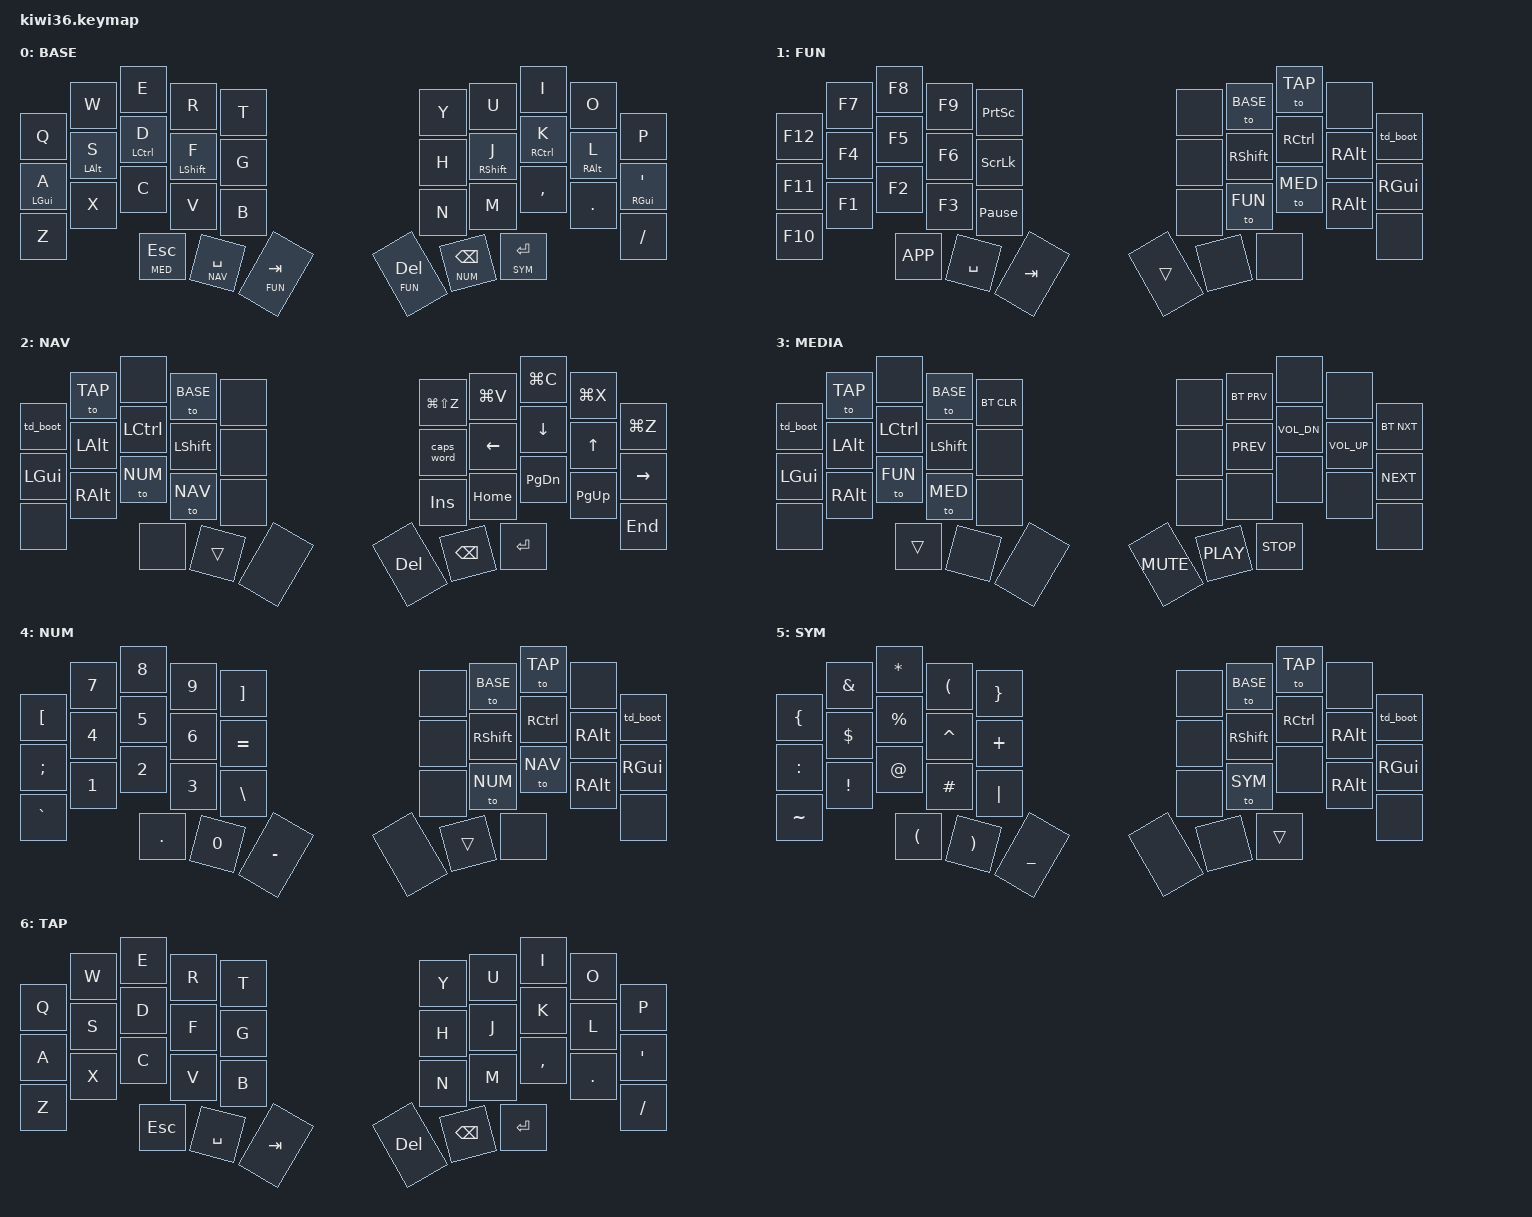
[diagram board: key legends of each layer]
/*
 * Copyright (c) 2023 The ZMK Contributors
 * SPDX-License-Identifier: MIT
 */

#include <behaviors.dtsi>
#include <dt-bindings/zmk/keys.h>
#include <dt-bindings/zmk/bt.h>
#include <dt-bindings/zmk/outputs.h>
#include <dt-bindings/zmk/rgb.h>

nice_view_spi: &spi0 {
  cs-gpios = <&gpio0 31 GPIO_ACTIVE_HIGH>;
};

#define BASE 0
#define FUN 1
#define NAV 2
#define MED 3
#define NUM 4
#define SYM 5
#define TAP 6

/* --- MACROS FOR MAC SHORTCUTS --- */
#define U_RDO LG(LS(Z))
#define U_PST LG(V)
#define U_CPY LG(C)
#define U_CUT LG(X)
#define U_UND LG(Z)

/ {
    behaviors {
        /* Home Row Mods: Tap for key, Hold for Mod */
        hm: homerow_mods {
            compatible = "zmk,behavior-hold-tap";
            #binding-cells = <2>;
            tapping-term-ms = <180>;
            quick-tap-ms = <175>;
            flavor = "balanced";
            bindings = <&kp>, <&kp>;
        };

        /* Thumb Layer Taps */
        lt_q: layer_tap_quick {
            compatible = "zmk,behavior-hold-tap";
            #binding-cells = <2>;
            tapping-term-ms = <200>;
            quick-tap-ms = <175>;
            flavor = "tap-preferred";
            bindings = <&mo>, <&kp>;
        };

        /* Tap Dance: Double tap to Reset */
        td_boot: tap_dance_boot {
            compatible = "zmk,behavior-tap-dance";
            #binding-cells = <0>;
            tapping-term-ms = <200>;
            bindings = <&none>, <&sys_reset>;
        };
    };

    combos {
        compatible = "zmk,combos";
        combo_dongle_bootloader {
            timeout-ms = <50>;
            key-positions = <0 9 30>;
            bindings = <&bootloader>;
        };
    };

    keymap {
        compatible = "zmk,keymap";

// LAYER 0: BASE
// -----------------------------------------------------------------------------------
// |   Q   |   W   |    E  |   R   |   T   |   |   Y   |   U   |   I   |   O   |   P   |
// | A/GUI | S/ALT | D/CTL | F/SFT |   G   |   |   H   | J/SFT | K/CTL | L/ALT | '/GUI |
// |   Z   |    X  |    C  |   V   |   B   |   |   N   |   M   |   ,   |   .   |   /   |
//                 |MED/ESC|NAV/SPC|FUN/TAB|   |SYM/RET|NUM/BSP|FUN/DEL|

        default_layer {
            display-name = "BASE";
            bindings = <
    &kp Q       &kp W       &kp E       &kp R       &kp T          &kp Y       &kp U       &kp I       &kp O       &kp P
    &hm LGUI A  &hm LALT S  &hm LCTRL D &hm LSHFT F &kp G          &kp H       &hm RSHFT J &hm RCTRL K &hm RALT L  &hm RGUI SQT
    &kp Z       &kp X       &kp C       &kp V       &kp B          &kp N       &kp M       &kp COMMA   &kp DOT     &kp FSLH
                            &lt MED ESC &lt NAV SPACE &lt FUN TAB  &lt SYM RET &lt NUM BSPC &lt FUN DEL
            >;
        };

// LAYER 1: FUNCTION
// -----------------------------------------------------------------
// | F12 | F7  | F8  | F9  | PSC |   |     | BASE| TAP |     | BOOT|
// | F11 | F4  | F5  | F6  | SLC |   |     | RSFT| RCTL| RALT| RGUI|
// | F10 | F1  | F2  | F3  | PAU |   |     | FUN | MED | RALT|     |
//             | APP | SPC | TAB |   |     |     |     |
 
        function_layer {
            display-name = "FUN";
            bindings = <
    &kp F12     &kp F7      &kp F8      &kp F9      &kp PSCRN      &none       &to BASE    &to TAP     &none       &td_boot
    &kp F11     &kp F4      &kp F5      &kp F6      &kp SLCK       &none       &kp RSHFT   &kp RCTRL   &kp RALT    &kp RGUI
    &kp F10     &kp F1      &kp F2      &kp F3      &kp PAUSE_BREAK &none      &to FUN     &to MED     &kp RALT    &none
                            &kp K_APP   &kp SPACE   &kp TAB        &none       &none       &trans
            >;
        };

// LAYER 2: NAVIGATION
// -----------------------------------------------------------------
// | BOOT| TAP |     | BASE|     |   | REDO| PST | CPY | CUT | UNDO|
// | LGUI| LALT| LCTL| LSFT|     |   | CAPS| LEFT| DOWN| UP  | RGHT|
// |     | RALT| NUM | NAV |     |   | INS | HOME| PGDN| PGUP| END |
//             |     |     |     |   | RET | BSPC| DEL | 

        nav_layer {
            display-name = "NAV";
            bindings = <
    &td_boot    &to TAP     &none       &to BASE    &none          &kp U_RDO   &kp U_PST   &kp U_CPY   &kp U_CUT   &kp U_UND
    &kp LGUI    &kp LALT    &kp LCTRL   &kp LSHFT   &none          &caps_word  &kp LEFT    &kp DOWN    &kp UP      &kp RIGHT
    &none       &kp RALT    &to NUM     &to NAV     &none          &kp INS     &kp HOME    &kp PG_DN   &kp PG_UP   &kp END
                            &none       &trans      &none          &kp RET     &kp BSPC    &kp DEL
            >;
        };

// LAYER 3: MEDIA
// --------------------------------------------------------------------
// | BOOT| TAP |     | BASE| BT_CLR |   |      | BT_P |      |     | BT_N |
// | LGUI| LALT| LCTL| LSFT|        |   |      | PREV | VOLD | VOLU| NEXT|
// |     | RALT| FUN | MED |        |   | AUTO |      |      |     |     |
//             |     |     |        |   | STOP | PLAY | MUTE |

        media_layer {
            display-name = "MEDIA";
            bindings = <
    &td_boot    &to TAP     &none       &to BASE    &bt BT_CLR     &none             &bt BT_PRV          &none            &none             &bt BT_NXT
    &kp LGUI    &kp LALT    &kp LCTRL   &kp LSHFT   &none          &none             &kp C_PREV          &kp C_VOL_DN     &kp C_VOL_UP      &kp C_NEXT
    &none       &kp RALT    &to FUN     &to MED     &none          &none             &none               &none            &none             &none
                            &trans      &none       &none          &kp C_STOP        &kp C_PLAY          &kp C_MUTE
            >;
        };

// LAYER 4: NUMERAL
// -----------------------------------------------------------------
// |  [  |  7  |  8  |  9  |  ]  |   |     | BASE| TAP |     | BOOT|
// |  ;  |  4  |  5  |  6  |  =  |   |     | RSFT| RCTL| RALT| RGUI|
// |  `  |  1  |  2  |  3  |  \  |   |     | NUM | NAV | RALT|     |
//             |  .  |  0  |  -  |   |     |     |     |

        numeral_layer {
            display-name = "NUM";
            bindings = <
    &kp LBKT    &kp N7      &kp N8      &kp N9      &kp RBKT       &none       &to BASE    &to TAP     &none       &td_boot
    &kp SEMI    &kp N4      &kp N5      &kp N6      &kp EQUAL      &none       &kp RSHFT   &kp RCTRL   &kp RALT    &kp RGUI
    &kp GRAVE   &kp N1      &kp N2      &kp N3      &kp BSLH       &none       &to NUM     &to NAV     &kp RALT    &none
                            &kp DOT     &kp N0      &kp MINUS      &none       &trans      &none
            >;
        };

// LAYER 5: SYMBOLS
// -----------------------------------------------------------------
// |  {  |  &  |  *  |  (  |  }  |   |     | BASE| TAP |     | BOOT|
// |  :  |  $  |  %  |  ^  |  +  |   |     | RSFT| RCTL| RALT| RGUI|
// |  ~  |  !  |  @  |  #  |  |  |   |     | SYM |     | RALT|     |
//             |  (  |  )  |  _  |   |     |     |     |

        symbols_layer {
            display-name = "SYM";
            bindings = <
    &kp LBRC    &kp AMPS    &kp STAR    &kp LPAR    &kp RBRC       &none       &to BASE    &to TAP     &none       &td_boot
    &kp COLON   &kp DLLR    &kp PRCNT   &kp CARET   &kp PLUS       &none       &kp RSHFT   &kp RCTRL   &kp RALT    &kp RGUI
    &kp TILDE   &kp EXCL    &kp AT      &kp HASH    &kp PIPE       &none       &to SYM     &none       &kp RALT    &none
                            &kp LPAR    &kp RPAR    &kp UNDER      &trans      &none       &none
            >;
        };

// LAYER 6: TAP (Gaming / No Mods)
// ------------------------------------------------------------------
// |  Q  |  W  |  E  |  R  |  T  |   |  Y  |  U   |  I  |  O  |  P  |
// |  A  |  S  |  D  |  F  |  G  |   |  H  |  J   |  K  |  L  |  '  |
// |  Z  |  X  |  C  |  V  |  B  |   |  N  |  M   |  ,  |  .  |  /  |
//             | ESC | SPC | TAB |   | RET | BSPC | DEL |

        tap_layer {
            display-name = "TAP";
            bindings = <
    &kp Q       &kp W       &kp E       &kp R       &kp T          &kp Y       &kp U       &kp I       &kp O       &kp P
    &kp A       &kp S       &kp D       &kp F       &kp G          &kp H       &kp J       &kp K       &kp L       &kp SQT
    &kp Z       &kp X       &kp C       &kp V       &kp B          &kp N       &kp M       &kp COMMA   &kp DOT     &kp FSLH
                            &kp ESC     &kp SPACE   &kp TAB        &kp RET     &kp BSPC    &kp DEL
            >;
        };
    };
};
